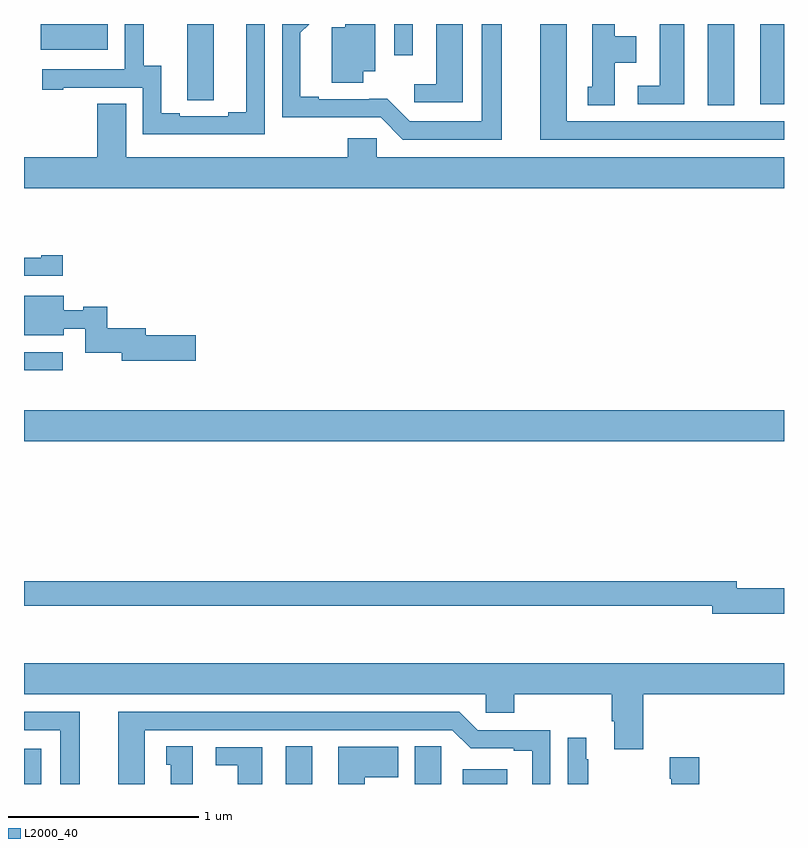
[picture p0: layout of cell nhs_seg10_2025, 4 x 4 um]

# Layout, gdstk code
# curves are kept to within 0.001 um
import gdstk
lib = gdstk.Library(unit=1e-6, precision=1e-09)
def R(c, l, rs):  # rectangles x0, y0, x1, y1
    for r in rs: c.add(gdstk.rectangle(r[:2], r[2:], *l))
def P(c, l, *ps):  # polygons
    for p in ps: c.add(gdstk.Polygon(p, *l))
L2000_40 = (2000, 40)

nhs_seg10_2025 = lib.new_cell('nhs_seg10_2025')
R(nhs_seg10_2025, L2000_40, [(217,1310.5,217.09,1310.685), (218.378,1310.5,218.518,1310.699), (219.308,1310.5,219.544,1310.578), (217,1312.304,221,1312.468), (217,1312.677,217.204,1312.773), (220.598,1314.073,220.738,1314.5), (220.874,1314.077,221,1314.5), (218.949,1314.336,219.045,1314.5), (217.088,1314.365,217.441,1314.5)])
P(nhs_seg10_2025, L2000_40, [(221,1313.988),(219.856,1313.988),(219.856,1314.5),(219.716,1314.5),(219.716,1313.892),(221,1313.892)],
  [(219.514,1314.5),(219.41,1314.5),(219.41,1313.988),(219.03,1313.988),(218.912,1314.106),(218.551,1314.105),(218.551,1314.118),(218.455,1314.118),(218.455,1314.454),(218.501,1314.5),(218.358,1314.5),(218.358,1314.008),(218.877,1314.009),(218.994,1313.892),(219.514,1313.892)],
  [(220.474,1314.5),(220.346,1314.5),(220.346,1314.174),(220.23,1314.174),(220.23,1314.078),(220.474,1314.078)],
  [(217.999,1314.5),(217.859,1314.5),(217.859,1314.208),(217.86,1314.208),(217.86,1314.1),(217.999,1314.1)],
  [(218.785,1314.251),(218.848,1314.251),(218.848,1314.5),(218.69,1314.5),(218.69,1314.484),(218.621,1314.484),(218.621,1314.19),(218.785,1314.19)],
  [(219.31,1314.5),(219.17,1314.5),(219.17,1314.184),(219.054,1314.184),(219.054,1314.087),(219.31,1314.087)],
  [(220.108,1314.296),(220.222,1314.296),(220.222,1314.436),(220.108,1314.436),(220.108,1314.5),(219.992,1314.5),(219.992,1314.171),(219.968,1314.171),(219.968,1314.073),(220.108,1314.073)],
  [(218.268,1314.5),(218.171,1314.5),(218.171,1314.035),(218.075,1314.035),(218.075,1314.015),(217.819,1314.015),(217.819,1314.03),(217.723,1314.03),(217.723,1314.281),(217.629,1314.281),(217.629,1314.5),(217.53,1314.5),(217.53,1314.261),(217.095,1314.261),(217.095,1314.153),(217.207,1314.153),(217.207,1314.165),(217.626,1314.165),(217.626,1313.919),(218.268,1313.919)],
  [(221,1313.8),(218.856,1313.8),(218.856,1313.898),(218.705,1313.898),(218.705,1313.8),(217.537,1313.8),(217.537,1314.08),(217.385,1314.08),(217.385,1313.8),(217,1313.8),(217,1313.636),(221,1313.636)],
  [(217.204,1313.284),(217.091,1313.284),(217.091,1313.271),(217,1313.271),(217,1313.175),(217.204,1313.175)],
  [(217.903,1312.862),(217.642,1312.862),(217.642,1312.898),(217.439,1312.898),(217.439,1313.012),(217.311,1313.012),(217.311,1312.994),(217.21,1312.994),(217.21,1313.071),(217,1313.071),(217,1312.862),(217.21,1312.862),(217.21,1312.896),(217.323,1312.896),(217.323,1312.77),(217.514,1312.77),(217.514,1312.727),(217.903,1312.727)],
  [(221,1311.53),(220.75,1311.53),(220.75,1311.566),(217,1311.566),(217,1311.438),(220.622,1311.438),(220.622,1311.395),(221,1311.395)],
  [(220.259,1310.972),(221,1310.972),(221,1311.136),(217,1311.136),(217,1310.972),(219.429,1310.972),(219.429,1310.874),(219.581,1310.874),(219.581,1310.972),(220.094,1310.972),(220.094,1310.83),(220.106,1310.83),(220.106,1310.682),(220.259,1310.682)],
  [(217.636,1310.784),(219.255,1310.784),(219.351,1310.688),(219.578,1310.688),(219.578,1310.676),(219.674,1310.676),(219.674,1310.5),(219.771,1310.5),(219.771,1310.784),(219.387,1310.784),(219.291,1310.88),(217.496,1310.88),(217.496,1310.5),(217.636,1310.5)],
  [(217.294,1310.88),(217,1310.88),(217,1310.784),(217.19,1310.784),(217.19,1310.5),(217.294,1310.5)],
  [(219.97,1310.63),(219.958,1310.63),(219.958,1310.743),(219.861,1310.743),(219.861,1310.5),(219.97,1310.5)],
  [(217.888,1310.699),(217.748,1310.699),(217.748,1310.601),(217.772,1310.601),(217.772,1310.5),(217.888,1310.5)],
  [(219.196,1310.588),(219.195,1310.588),(219.195,1310.699),(219.056,1310.699),(219.056,1310.5),(219.196,1310.5)],
  [(218.794,1310.536),(218.971,1310.536),(218.971,1310.695),(218.654,1310.695),(218.654,1310.5),(218.794,1310.5)],
  [(218.254,1310.694),(218.01,1310.694),(218.01,1310.598),(218.126,1310.598),(218.126,1310.5),(218.254,1310.5)],
  [(220.553,1310.641),(220.399,1310.641),(220.399,1310.528),(220.406,1310.528),(220.406,1310.5),(220.553,1310.5)])

lib.write_gds('nhs_seg10_2025.gds')
